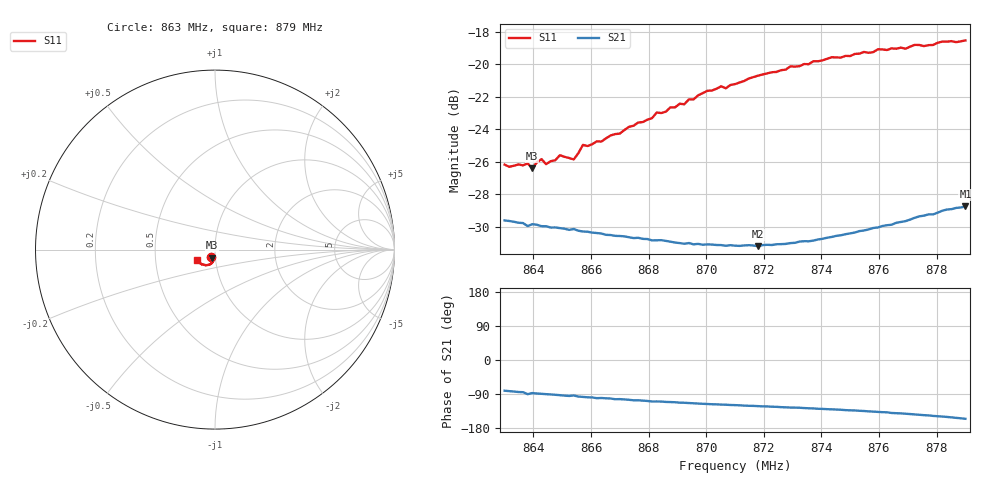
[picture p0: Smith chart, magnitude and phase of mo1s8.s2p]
# HZ S RI R 50
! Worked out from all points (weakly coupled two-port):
!   101 points, 863 MHz to 879 MHz, reference 50 ohm
!   highest |S21| = -28.75 dB at 879 MHz (marker M1); lowest = -31.2 dB at 871.8 MHz (marker M2)
!   lowest |S11| = -26.4 dB at 863.96 MHz (marker M3), VSWR 1.10, Z = 48.2 - j4.33 ohm
!   |S11| at or under -10 dB: start of sweep to end of sweep
!   S12 and S22 are empty: the file has one direction only
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8.63e8  -0.023 -0.0434  0.00517 -0.0327  0 0  0 0
8.6316e8  -0.021 -0.0436  0.00449 -0.0326  0 0  0 0
8.638e8  -0.0193 -0.0456  -9.2e-05 -0.0318  0 0  0 0
8.6396e8  -0.0166 -0.0449  0.00156 -0.0322  0 0  0 0
8.6428e8  -0.0162 -0.0484  0.000424 -0.0317  0 0  0 0
8.6444e8  -0.0158 -0.0467  -8.4e-05 -0.0317  0 0  0 0
8.6492e8  -0.0147 -0.0504  -0.00155 -0.0313  0 0  0 0
8.654e8  -0.0104 -0.0499  -0.00195 -0.0311  0 0  0 0
8.6572e8  -0.0128 -0.055  -0.00394 -0.0303  0 0  0 0
8.6636e8  -0.0123 -0.0565  -0.00538 -0.0296  0 0  0 0
8.6812e8  -0.0129 -0.0671  -0.00961 -0.027  0 0  0 0
8.6828e8  -0.0138 -0.0697  -0.00954 -0.0271  0 0  0 0
8.6844e8  -0.015 -0.0693  -0.00968 -0.0271  0 0  0 0
8.6908e8  -0.0177 -0.0736  -0.0108 -0.026  0 0  0 0
8.6924e8  -0.018 -0.0732  -0.0109 -0.0258  0 0  0 0
8.694e8  -0.0188 -0.0758  -0.0113 -0.0258  0 0  0 0
8.7004e8  -0.0236 -0.0795  -0.0123 -0.025  0 0  0 0
8.71e8  -0.0292 -0.082  -0.0134 -0.0242  0 0  0 0
8.718e8  -0.0366 -0.0848  -0.0145 -0.0234  0 0  0 0
8.7372e8  -0.0535 -0.0872  -0.0176 -0.0226  0 0  0 0
8.7644e8  -0.0806 -0.078  -0.0245 -0.0207  0 0  0 0
8.79e8  -0.103 -0.0588  -0.0331 -0.0154  0 0  0 0
